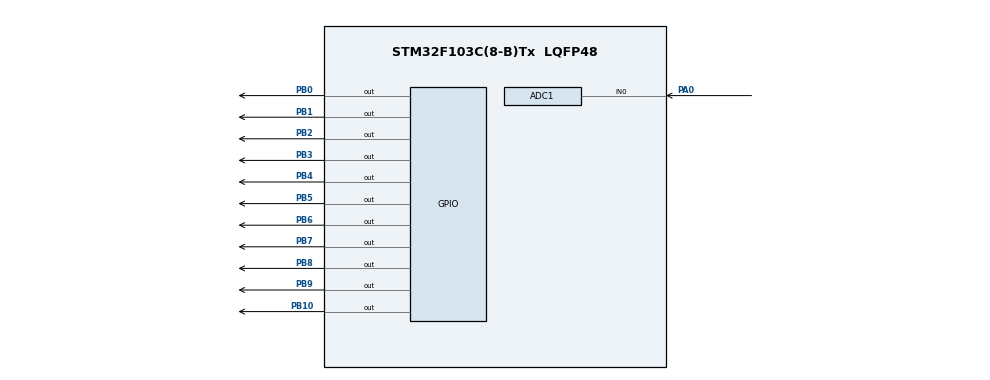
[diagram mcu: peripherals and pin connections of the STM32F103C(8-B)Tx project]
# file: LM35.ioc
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ADC1.Channel-0\#ChannelRegularConversion=ADC_CHANNEL_0
ADC1.ContinuousConvMode=ENABLE
ADC1.NbrOfConversionFlag=1
ADC1.Rank-0\#ChannelRegularConversion=1
ADC1.SamplingTime-0\#ChannelRegularConversion=ADC_SAMPLETIME_1CYCLE_5
ADC1.master=1
Mcu.Family=STM32F1
Mcu.Name=STM32F103C(8-B)Tx
Mcu.Package=LQFP48
NVIC.ADC1_2_IRQn=true\:1\:0\:true\:false\:true\:true\:true\:true
NVIC.PriorityGroup=NVIC_PRIORITYGROUP_4
PA0-WKUP.Signal=ADCx_IN0
PB0.Signal=GPIO_Output
PB1.Signal=GPIO_Output
PB10.Signal=GPIO_Output
PB2.Signal=GPIO_Output
PB3.Signal=GPIO_Output
PB4.Signal=GPIO_Output
PB5.Signal=GPIO_Output
PB6.Signal=GPIO_Output
PB7.Signal=GPIO_Output
PB8.Signal=GPIO_Output
PB9.Signal=GPIO_Output
ProjectManager.HeapSize=0x200
ProjectManager.StackSize=0x400
ProjectManager.TargetToolchain=MDK-ARM V5
RCC.APB1Freq_Value=8000000
RCC.APB2Freq_Value=8000000
SH.ADCx_IN0.0=ADC1_IN0,IN0
VP_SYS_VS_ND.Mode=No_Debug
board=custom

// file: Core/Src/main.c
/* USER CODE BEGIN Header */
/**
  ******************************************************************************
  * @file           : main.c
  * @brief          : Main program body
  ******************************************************************************
  * @attention
  *
  * Copyright (c) 2022 STMicroelectronics.
  * All rights reserved.
  *
  * This software is licensed under terms that can be found in the LICENSE file
  * in the root directory of this software component.
  * If no LICENSE file comes with this software, it is provided AS-IS.
  *
  ******************************************************************************
  */
/* USER CODE END Header */
#include "main.h"
#include "stdio.h"

ADC_HandleTypeDef hadc1;

/* USER CODE BEGIN PV */
char M[20];
float voltage;
uint16_t AD;
/* USER CODE END PV */

void SystemClock_Config(void);
static void MX_GPIO_Init(void);
static void MX_ADC1_Init(void);
/* USER CODE BEGIN PFP */
void Lcd_configure(void);//KHOI TAO LCD
void Lcd_Write_Command(char command);//GHI LENH
void Lcd_Write_Data(char data);//GHI DATA
/* USER CODE END PFP */

/* USER CODE BEGIN 0 */
void Write_LCD ( uint8_t data)
{
	HAL_GPIO_WritePin(GPIOB,GPIO_PIN_0, data & 0x0001); // D0
	HAL_GPIO_WritePin(GPIOB,GPIO_PIN_1, (data >> 1) & 0x0001);
	HAL_GPIO_WritePin(GPIOB,GPIO_PIN_2, (data >> 2) & 0x0001);
	HAL_GPIO_WritePin(GPIOB,GPIO_PIN_3, (data >> 3) & 0x0001);
	HAL_GPIO_WritePin(GPIOB,GPIO_PIN_4, (data >> 4) & 0x0001);
	HAL_GPIO_WritePin(GPIOB,GPIO_PIN_5, (data >> 5) & 0x0001);
	HAL_GPIO_WritePin(GPIOB,GPIO_PIN_6, (data >> 6) & 0x0001);
	HAL_GPIO_WritePin(GPIOB,GPIO_PIN_7, (data >> 7) & 0x0001); //D7
}

void Lcd_Write_Command (char command)
{
	HAL_GPIO_WritePin(GPIOB,GPIO_PIN_10,GPIO_PIN_RESET); //RS= 0;
	HAL_GPIO_WritePin(GPIOB,GPIO_PIN_9,GPIO_PIN_RESET); //LCD_RW= 0;
	HAL_GPIO_WritePin(GPIOB,GPIO_PIN_8,GPIO_PIN_SET);// LCD_EN= 1;// LCD_EN= 1;
	Write_LCD (command);
	HAL_GPIO_WritePin(GPIOB,GPIO_PIN_8,GPIO_PIN_RESET); //LCD_EN= 0;
	HAL_Delay(10); // 10 ms
}
void Lcd_Write_Data (char data)
{
	HAL_GPIO_WritePin(GPIOB,GPIO_PIN_10,GPIO_PIN_SET); //RS= 1;
	HAL_GPIO_WritePin(GPIOB,GPIO_PIN_9,GPIO_PIN_RESET); //LCD_RW= 0;
	HAL_GPIO_WritePin(GPIOB,GPIO_PIN_8,GPIO_PIN_SET);// LCD_EN= 1;// LCD_EN= 1;
	Write_LCD (data);
	HAL_GPIO_WritePin(GPIOB,GPIO_PIN_8,GPIO_PIN_RESET); //LCD_EN= 0;
	HAL_Delay(10); // 10 ms
}
void Lcd_Write_String ( char *s)
{
	while(*s)
	{
		Lcd_Write_Data(*s);
		s++;
	}
}
void Lcd_configure (void)
{
	Lcd_Write_Command(0x03);
	Lcd_Write_Command(0x38);
	Lcd_Write_Command(0x06);
	Lcd_Write_Command(0x0c);
	Lcd_Write_Command(0x01);
}
/* USER CODE END 0 */

int main(void)
{

  /* MCU Configuration--------------------------------------------------------*/

  /* Reset of all peripherals, Initializes the Flash interface and the Systick. */
  HAL_Init();

  /* Configure the system clock */
  SystemClock_Config();

  /* Initialize all configured peripherals */
  MX_GPIO_Init();
  MX_ADC1_Init();
  /* USER CODE BEGIN 2 */
	Lcd_configure();
	HAL_ADC_Start(&hadc1);
  /* USER CODE END 2 */

  /* Infinite loop */
  while (1)
  {

    /* USER CODE BEGIN 3 */
		HAL_ADC_PollForConversion(&hadc1, 50);
		AD = HAL_ADC_GetValue(&hadc1);
		voltage = (((float)AD * 5) / 4095) * 100;

		Lcd_Write_Command(0x80);

		//Lcd_Write_Command(0xC0);
		sprintf(&M[0],"Nhiet do: %.2f", voltage);
		Lcd_Write_String(&M[0]);

		//while(1);
  }
  /* USER CODE END 3 */
}

void SystemClock_Config(void)
{
  RCC_OscInitTypeDef RCC_OscInitStruct = {0};
  RCC_ClkInitTypeDef RCC_ClkInitStruct = {0};
  RCC_PeriphCLKInitTypeDef PeriphClkInit = {0};

  /** Initializes the RCC Oscillators according to the specified parameters
  * in the RCC_OscInitTypeDef structure.
  */
  RCC_OscInitStruct.OscillatorType = RCC_OSCILLATORTYPE_HSI;
  RCC_OscInitStruct.HSIState = RCC_HSI_ON;
  RCC_OscInitStruct.HSICalibrationValue = RCC_HSICALIBRATION_DEFAULT;
  RCC_OscInitStruct.PLL.PLLState = RCC_PLL_NONE;
  if (HAL_RCC_OscConfig(&RCC_OscInitStruct) != HAL_OK)
  {
    Error_Handler();
  }

  /** Initializes the CPU, AHB and APB buses clocks
  */
  RCC_ClkInitStruct.ClockType = RCC_CLOCKTYPE_HCLK|RCC_CLOCKTYPE_SYSCLK
                              |RCC_CLOCKTYPE_PCLK1|RCC_CLOCKTYPE_PCLK2;
  RCC_ClkInitStruct.SYSCLKSource = RCC_SYSCLKSOURCE_HSI;
  RCC_ClkInitStruct.AHBCLKDivider = RCC_SYSCLK_DIV1;
  RCC_ClkInitStruct.APB1CLKDivider = RCC_HCLK_DIV1;
  RCC_ClkInitStruct.APB2CLKDivider = RCC_HCLK_DIV1;

  if (HAL_RCC_ClockConfig(&RCC_ClkInitStruct, FLASH_LATENCY_0) != HAL_OK)
  {
    Error_Handler();
  }
  PeriphClkInit.PeriphClockSelection = RCC_PERIPHCLK_ADC;
  PeriphClkInit.AdcClockSelection = RCC_ADCPCLK2_DIV2;
  if (HAL_RCCEx_PeriphCLKConfig(&PeriphClkInit) != HAL_OK)
  {
    Error_Handler();
  }
}

static void MX_ADC1_Init(void)
{

  ADC_ChannelConfTypeDef sConfig = {0};

  /** Common config
  */
  hadc1.Instance = ADC1;
  hadc1.Init.ScanConvMode = ADC_SCAN_DISABLE;
  hadc1.Init.ContinuousConvMode = ENABLE;
  hadc1.Init.DiscontinuousConvMode = DISABLE;
  hadc1.Init.ExternalTrigConv = ADC_SOFTWARE_START;
  hadc1.Init.DataAlign = ADC_DATAALIGN_RIGHT;
  hadc1.Init.NbrOfConversion = 1;
  if (HAL_ADC_Init(&hadc1) != HAL_OK)
  {
    Error_Handler();
  }

  /** Configure Regular Channel
  */
  sConfig.Channel = ADC_CHANNEL_0;
  sConfig.Rank = ADC_REGULAR_RANK_1;
  sConfig.SamplingTime = ADC_SAMPLETIME_1CYCLE_5;
  if (HAL_ADC_ConfigChannel(&hadc1, &sConfig) != HAL_OK)
  {
    Error_Handler();
  }

}

static void MX_GPIO_Init(void)
{
  GPIO_InitTypeDef GPIO_InitStruct = {0};

  /* GPIO Ports Clock Enable */
  __HAL_RCC_GPIOA_CLK_ENABLE();
  __HAL_RCC_GPIOB_CLK_ENABLE();

  /*Configure GPIO pin Output Level */
  HAL_GPIO_WritePin(GPIOB, GPIO_PIN_0|GPIO_PIN_1|GPIO_PIN_2|GPIO_PIN_10
                          |GPIO_PIN_3|GPIO_PIN_4|GPIO_PIN_5|GPIO_PIN_6
                          |GPIO_PIN_7|GPIO_PIN_8|GPIO_PIN_9, GPIO_PIN_RESET);

  /*Configure GPIO pins : PB0 PB1 PB2 PB10
                           PB3 PB4 PB5 PB6
                           PB7 PB8 PB9 */
  GPIO_InitStruct.Pin = GPIO_PIN_0|GPIO_PIN_1|GPIO_PIN_2|GPIO_PIN_10
                          |GPIO_PIN_3|GPIO_PIN_4|GPIO_PIN_5|GPIO_PIN_6
                          |GPIO_PIN_7|GPIO_PIN_8|GPIO_PIN_9;
  GPIO_InitStruct.Mode = GPIO_MODE_OUTPUT_PP;
  GPIO_InitStruct.Pull = GPIO_NOPULL;
  GPIO_InitStruct.Speed = GPIO_SPEED_FREQ_LOW;
  HAL_GPIO_Init(GPIOB, &GPIO_InitStruct);

}

void Error_Handler(void)
{
  __disable_irq();
  while (1)
  {
  }
}
